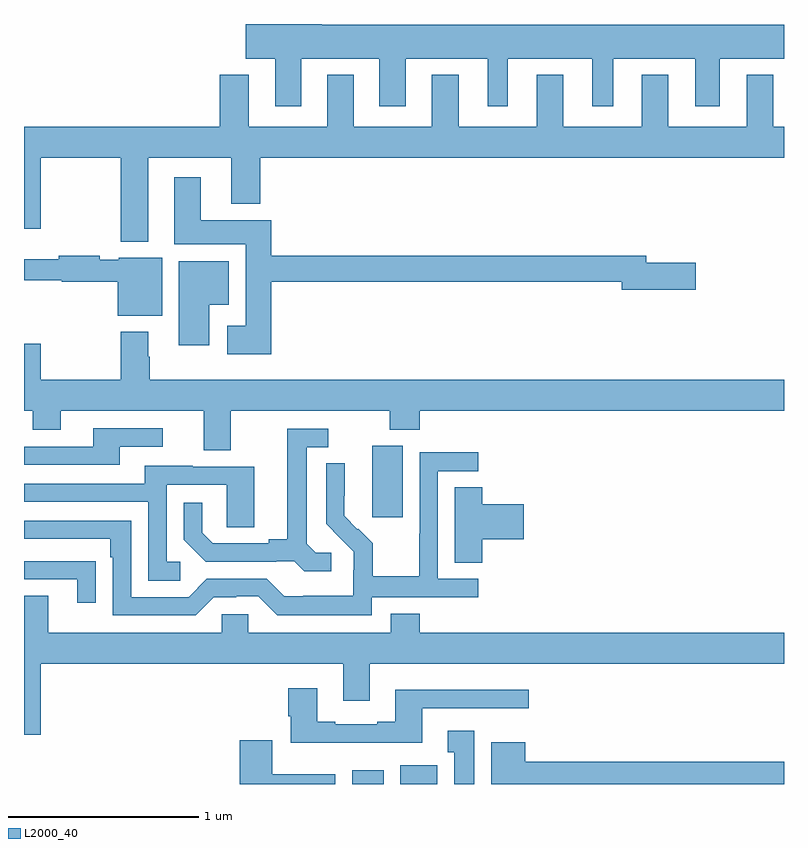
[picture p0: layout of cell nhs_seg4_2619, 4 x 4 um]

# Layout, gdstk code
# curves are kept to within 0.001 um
import gdstk
lib = gdstk.Library(unit=1e-6, precision=1e-09)
def R(c, l, rs):  # rectangles x0, y0, x1, y1
    for r in rs: c.add(gdstk.rectangle(r[:2], r[2:], *l))
def P(c, l, *ps):  # polygons
    for p in ps: c.add(gdstk.Polygon(p, *l))
L2000_40 = (2000, 40)

nhs_seg4_2619 = lib.new_cell('nhs_seg4_2619')
R(nhs_seg4_2619, L2000_40, [(250.727,750.9,250.894,750.973), (250.979,750.9,251.176,751), (250.832,752.304,250.993,752.68)])
P(nhs_seg4_2619, L2000_40, [(250.459,754.718),(250.871,754.718),(250.871,754.467),(251.008,754.467),(251.008,754.718),(251.441,754.718),(251.441,754.467),(251.545,754.467),(251.545,754.718),(251.99,754.718),(251.99,754.467),(252.1,754.467),(252.1,754.718),(252.533,754.718),(252.533,754.467),(252.661,754.467),(252.661,754.718),(253,754.718),(253,754.897),(250.567,754.897),(250.567,754.9),(250.166,754.9),(250.166,754.718),(250.322,754.718),(250.322,754.467),(250.459,754.467)],
  [(249.655,754.196),(250.091,754.196),(250.091,753.953),(250.244,753.953),(250.244,754.196),(253,754.196),(253,754.36),(252.943,754.36),(252.943,754.633),(252.803,754.633),(252.803,754.36),(252.391,754.36),(252.391,754.633),(252.251,754.633),(252.251,754.36),(251.839,754.36),(251.839,754.633),(251.699,754.633),(251.699,754.36),(251.287,754.36),(251.287,754.633),(251.147,754.633),(251.147,754.36),(250.735,754.36),(250.735,754.633),(250.595,754.633),(250.595,754.36),(250.183,754.36),(250.183,754.633),(250.031,754.633),(250.031,754.36),(249,754.36),(249,753.822),(249.088,753.822),(249.088,754.196),(249.508,754.196),(249.508,753.755),(249.655,753.755)],
  [(250.301,753.544),(252.146,753.544),(252.146,753.502),(252.535,753.502),(252.535,753.644),(252.274,753.644),(252.274,753.68),(250.301,753.68),(250.301,753.868),(249.931,753.868),(249.931,754.093),(249.791,754.093),(249.791,753.74),(250.166,753.74),(250.166,753.313),(250.071,753.313),(250.071,753.161),(250.301,753.161)],
  [(249.727,753.67),(249.498,753.67),(249.498,753.66),(249.398,753.66),(249.398,753.68),(249.184,753.68),(249.184,753.661),(249,753.661),(249,753.552),(249.198,753.552),(249.198,753.544),(249.494,753.544),(249.494,753.365),(249.727,753.365)],
  [(249.976,753.422),(250.078,753.422),(250.078,753.652),(249.815,753.652),(249.815,753.21),(249.976,753.21)],
  [(250.087,752.864),(250.924,752.864),(250.924,752.765),(251.084,752.765),(251.084,752.864),(253,752.864),(253,753.028),(249.663,753.028),(249.663,753.149),(249.655,753.149),(249.655,753.28),(249.508,753.28),(249.508,753.028),(249.088,753.028),(249.088,753.217),(249,753.217),(249,752.864),(249.046,752.864),(249.046,752.765),(249.193,752.765),(249.193,752.864),(249.947,752.864),(249.947,752.656),(250.087,752.656)],
  [(249.505,752.676),(249.73,752.676),(249.73,752.772),(249.365,752.772),(249.365,752.676),(249,752.676),(249,752.58),(249.505,752.58)],
  [(250.618,752.118),(250.536,752.118),(250.489,752.165),(250.489,752.673),(250.6,752.673),(250.6,752.769),(250.385,752.769),(250.385,752.189),(250.289,752.189),(250.289,752.166),(249.994,752.166),(249.937,752.223),(249.937,752.38),(249.84,752.38),(249.84,752.186),(249.956,752.07),(250.328,752.07),(250.328,752.073),(250.422,752.073),(250.474,752.021),(250.618,752.021)],
  [(250.83,751.884),(251.392,751.884),(251.392,751.98),(251.178,751.98),(251.178,752.547),(251.392,752.547),(251.392,752.646),(251.082,752.646),(251.082,752.216),(251.08,752.216),(251.08,751.993),(250.835,751.993),(250.835,752.167),(250.758,752.244),(250.755,752.241),(250.685,752.312),(250.685,752.416),(250.687,752.416),(250.687,752.588),(250.59,752.588),(250.59,752.27),(250.736,752.122),(250.736,752.025),(250.734,752.025),(250.734,751.891),(250.471,751.891),(250.471,751.887),(250.371,751.887),(250.278,751.98),(249.963,751.98),(249.867,751.884),(249.564,751.884),(249.564,752.286),(249,752.286),(249,752.19),(249.455,752.19),(249.455,752.093),(249.468,752.093),(249.468,751.788),(249.903,751.788),(249.999,751.884),(250.118,751.884),(250.118,751.887),(250.233,751.887),(250.333,751.787),(250.83,751.787)],
  [(249.823,752.07),(249.75,752.07),(249.75,752.475),(250.068,752.475),(250.068,752.251),(250.213,752.251),(250.213,752.571),(249.889,752.571),(249.889,752.575),(249.635,752.575),(249.635,752.481),(249,752.481),(249,752.385),(249.654,752.385),(249.654,751.969),(249.823,751.969)],
  [(251.411,752.189),(251.629,752.189),(251.629,752.372),(251.411,752.372),(251.411,752.462),(251.267,752.462),(251.267,752.065),(251.411,752.065)],
  [(249.377,752.072),(249.275,752.072),(249.275,752.073),(249,752.073),(249,751.977),(249.281,751.977),(249.281,751.854),(249.377,751.854)],
  [(249.088,751.532),(250.679,751.532),(250.679,751.338),(250.819,751.338),(250.819,751.532),(253,751.532),(253,751.696),(251.084,751.696),(251.084,751.795),(250.931,751.795),(250.931,751.696),(250.179,751.696),(250.179,751.794),(250.041,751.794),(250.041,751.696),(249.127,751.696),(249.127,751.891),(249,751.891),(249,751.158),(249.088,751.158)],
  [(251.095,751.299),(251.656,751.299),(251.656,751.396),(250.955,751.396),(250.955,751.228),(250.859,751.228),(250.859,751.215),(250.639,751.215),(250.639,751.228),(250.543,751.228),(250.543,751.405),(250.391,751.405),(250.391,751.257),(250.403,751.257),(250.403,751.118),(251.095,751.118)],
  [(251.371,751.18),(251.231,751.18),(251.231,751.067),(251.264,751.067),(251.264,750.9),(251.371,750.9)],
  [(250.639,750.952),(250.306,750.952),(250.306,751.129),(250.136,751.129),(250.136,750.9),(250.639,750.9)],
  [(253,751.016),(251.638,751.016),(251.638,751.12),(251.459,751.12),(251.459,750.9),(253,750.9)])

lib.write_gds('nhs_seg4_2619.gds')
